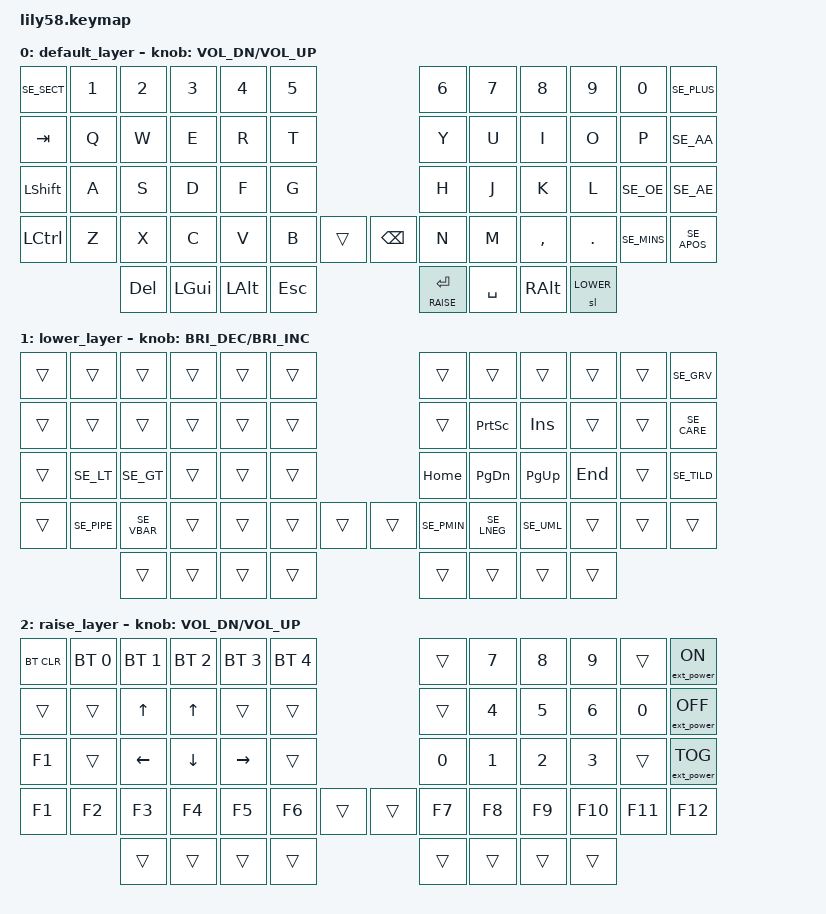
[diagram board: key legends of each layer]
/*
 * Copyright (c) 2020 The ZMK Contributors
 *
 * SPDX-License-Identifier: MIT
 */

#include <behaviors.dtsi>
#include <dt-bindings/zmk/keys.h>
#include <dt-bindings/zmk/bt.h>
#include <dt-bindings/zmk/ext_power.h>

// Key mappings are according to Swedish layout
#include "swedish-keymap.h"

#define DEFAULT 0
#define LOWER   1
#define RAISE   2

/ {
	keymap {
		compatible = "zmk,keymap";

		default_layer {
// ------------------------------------------------------------------------------------------------------------
// |  §    |  1   |  2   |  3   |  4   |  5   |                     |  6   |  7   |  8   |  9   |  0   |   +   |
// |  TAB  |  Q   |  W   |  E   |  R   |  T   |                     |  Y   |  U   |  I   |  O   |  P   |   Å   |
// | SHIFT |  A   |  S   |  D   |  F   |  G   |                     |  H   |  J   |  K   |  L   |  Ö   |   Ä   |
// | CTRL  |  Z   |  X   |  C   |  V   |  B   |   VOL  |  |  BSPC   |  N   |  M   |  ,   |  .   |  -   |   '   |
//                    | RAISE |  ALT  |  GUI  |   ESC  |  |  ENTER  | SPACE | ALTGR | LOWER  |
			bindings = <
&kp SE_SECT  &kp N1  &kp N2  &kp N3  &kp N4  &kp N5                     &kp N6  &kp N7  &kp N8     &kp N9   &kp N0       &kp SE_PLUS
&kp TAB      &kp Q   &kp W   &kp E   &kp R   &kp T                      &kp Y   &kp U   &kp I      &kp O    &kp P        &kp SE_AA
&kp LSHFT    &kp A   &kp S   &kp D   &kp F   &kp G                      &kp H   &kp J   &kp K      &kp L    &kp SE_OE    &kp SE_AE
&kp LCTRL    &kp Z   &kp X   &kp C   &kp V   &kp B   &trans   &kp BSPC  &kp N   &kp M   &kp COMMA  &kp DOT  &kp SE_MINS  &kp SE_APOS
                        &kp DEL  &kp LGUI  &kp LALT  &kp ESC  &lt RAISE RET  &kp SPACE  &kp RALT  &sl LOWER
			>;

			sensor-bindings = <&inc_dec_kp K_VOL_DN K_VOL_UP>;
		};

		lower_layer {
// -------------------------------------------------------------------------------------------------------------
// |       |      |      |      |      |      |                     |      |      |      |      |      |   `   |
// |   	   |      |      |      |      |      |                     |      | PSCRN| INS  |      |      |   ^   |
// |       |  <   |  >   |      |      |      |                     | HOME | PGDN | PGUP | END  |      |   ~   |
// |       |  |   |  ¦   |      |      |      |        |  |         |  ±   |  ¬   |  ¨   |      |      |       |
//                       |      |      |      |        |  |         |      |      |      |
			bindings = <
&trans  &trans       &trans       &trans  &trans  &trans                  &trans       &trans       &trans      &trans   &trans  &kp SE_GRV
&trans  &trans       &trans       &trans  &trans  &trans                  &trans       &kp PSCRN    &kp INS     &trans   &trans  &kp SE_CARE
&trans  &kp SE_LT    &kp SE_GT    &trans  &trans  &trans                  &kp HOME     &kp PG_DN    &kp PG_UP   &kp END  &trans  &kp SE_TILD
&trans  &kp SE_PIPE  &kp SE_VBAR  &trans  &trans  &trans  &trans  &trans  &kp SE_PMIN  &kp SE_LNEG  &kp SE_UML  &trans   &trans  &trans
			          &trans  &trans  &trans  &trans  &trans  &trans  &trans  &trans
			>;

			sensor-bindings = <&inc_dec_kp C_BRI_DEC C_BRI_INC>;
		};

		raise_layer {
// ------------------------------------------------------------------------------------------------------------
// | BTCLR | BT1  | BT2  | BT3  | BT4  | BT5  |                   |      |   7   |   8   |  9   |       | EPON  |
// |       |      |      | UP   |      |      |                   |      |   4   |   5   |  6   |       | EPOFF |
// |       |      | LEFT | DOWN | RIGHT|      |                   |  0   |   1   |   2   |  3   |       | EPTOG |
// | F1    | F2   | F3   | F4   | F5   | F6   |        |  |       |  F7  |   F8  |   F9  |  F10 | F11   | F12   |
//                       |      |      |      |        |  |       |      |       |       |
			bindings = <
&bt BT_CLR  &bt BT_SEL 0  &bt BT_SEL 1  &bt BT_SEL 2  &bt BT_SEL 3  &bt BT_SEL 4                  &trans  &kp N7  &kp N8  &kp N9   &trans   &ext_power EP_ON
&trans      &trans        &kp UP        &kp UP        &trans        &trans                        &trans  &kp N4  &kp N5  &kp N6   &kp N0   &ext_power EP_OFF
&kp F1      &trans        &kp LEFT      &kp DOWN      &kp RIGHT     &trans                        &kp N0  &kp N1  &kp N2  &kp N3   &trans   &ext_power EP_TOG
&kp F1      &kp F2        &kp F3        &kp F4        &kp F5        &kp F6        &trans  &trans  &kp F7  &kp F8  &kp F9  &kp F10  &kp F11  &kp F12
                                                          &trans  &trans  &trans  &trans  &trans  &trans  &trans  &trans
			>;

			sensor-bindings = <&inc_dec_kp K_VOL_DN K_VOL_UP>;
		};
	};
};
